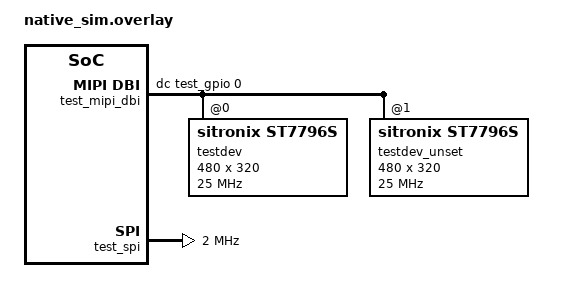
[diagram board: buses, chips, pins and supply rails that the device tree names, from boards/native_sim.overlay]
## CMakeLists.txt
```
# SPDX-License-Identifier: Apache-2.0

cmake_minimum_required(VERSION 3.28.0)
find_package(Zephyr REQUIRED HINTS $ENV{ZEPHYR_BASE})
project(mipi_dbi_api)

FILE(GLOB app_sources src/*.c)
target_sources(app PRIVATE ${app_sources})
```

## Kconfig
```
# Copyright (c) 2026 Hsiu-Chi Tsai
# SPDX-License-Identifier: Apache-2.0

config TEST_MULTIPLE_INSTANCES
	bool "Also test the mipi_dbi_1 instance"
	help
	  Run the tests on mipi_dbi_1 as well. Both instances have eight data
	  pins, so only the 8-bit 8080 mode is used.

source "Kconfig.zephyr"
```

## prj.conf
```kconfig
CONFIG_TEST_USERSPACE=y
CONFIG_ZTEST=y
CONFIG_DMA=y
CONFIG_MIPI_DBI=y
CONFIG_MIPI_DBI_LOG_LEVEL_DBG=y
```

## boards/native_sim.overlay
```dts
/*
 * Copyright (c) 2025 Hsiu-Chi Tsai
 *
 * SPDX-License-Identifier: Apache-2.0
 *
 * Devicetree overlay that exercises MIPI_DBI_CONFIG_DT() reading the
 * optional "color-coding" property of a mipi-dbi-device child node.
 *
 * testdev sets a value (RGB888_1) so the test proves the property is really
 * read; testdev_unset omits it so the field stays unset.
 *
 * Both nodes use a Mode C mipi-mode because they hang off a
 * zephyr,mipi-dbi-spi controller, which is what MIPI_DBI_CONFIG_DT()
 * builds its spi_config from. The macro reads "color-coding" whatever the
 * mode is, and that expansion is all this test covers.
 *
 * The GPIO and SPI devices are stubs. The MIPI DBI controller and display
 * compatibles are the production ones, because they carry the bindings the
 * macro expands against, but their drivers are left out of this build.
 */

#include <zephyr/dt-bindings/mipi_dbi/mipi_dbi.h>

/ {
	test {
		#address-cells = <1>;
		#size-cells = <1>;

		test_mipi_dbi: test_mipi_dbi {
			compatible = "zephyr,mipi-dbi-spi";
			dc-gpios = <&test_gpio 0 0>;
			spi-dev = <&test_spi>;
			#address-cells = <1>;
			#size-cells = <0>;
			status = "okay";

			testdev: testdev@0 {
				compatible = "sitronix,st7796s";
				reg = <0x0>;
				mipi-max-frequency = <25000000>;
				mipi-mode = "MIPI_DBI_MODE_SPI_4WIRE";
				color-coding = "MIPI_DBI_MODE_RGB888_1";
				height = <320>;
				width = <480>;
				/* Dummy values, this won't drive a real panel */
				pgc = [f0 06 0b 07 06 05 2e 33 47 3a 17 16 2e 31];
				ngc = [f0 09 0d 09 08 23 2e 33 46 38 13 13 2c 32];
			};

			/* Omits color-coding, so the field stays unset. */
			testdev_unset: testdev@1 {
				compatible = "sitronix,st7796s";
				reg = <0x1>;
				mipi-max-frequency = <25000000>;
				mipi-mode = "MIPI_DBI_MODE_SPI_4WIRE";
				height = <320>;
				width = <480>;
				/* Dummy values, this won't drive a real panel */
				pgc = [f0 06 0b 07 06 05 2e 33 47 3a 17 16 2e 31];
				ngc = [f0 09 0d 09 08 23 2e 33 46 38 13 13 2c 32];
			};
		};

		test_spi: spi@33334444 {
			compatible = "vnd,spi";
			reg = <0x33334444 0x1000>;
			#address-cells = <1>;
			#size-cells = <0>;
			clock-frequency = <2000000>;
			cs-gpios = <&test_gpio 0 0>, <&test_gpio 1 0>;
			status = "okay";
		};

		test_gpio: gpio@deadbeef {
			compatible = "vnd,gpio";
			reg = <0xdeadbeef 0x1000>;
			gpio-controller;
			#gpio-cells = <0x2>;
			status = "okay";
		};
	};
};
```

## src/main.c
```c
/*
 * Copyright (c) 2025 Christoph Schnetzler
 * Copyright (c) 2025 Hsiu-Chi Tsai
 *
 * SPDX-License-Identifier: Apache-2.0
 */

#include <zephyr/drivers/gpio/gpio_emul.h>
#include <zephyr/drivers/mipi_dbi.h>
#include <zephyr/ztest.h>

/*
 * The API tests below drive a real MIPI DBI controller, so they are only built
 * where the "mipi_dbi" node is enabled (see tests.yaml).
 */
#if DT_NODE_HAS_STATUS_OKAY(DT_NODELABEL(mipi_dbi))

#if DT_NODE_HAS_COMPAT(DT_NODELABEL(mipi_dbi), zephyr_mipi_dbi_bitbang)
BUILD_ASSERT(DT_PROP_LEN(DT_NODELABEL(mipi_dbi), data_gpios) == 8,
	     "the bit-banged fixture must declare an eight-bit data bus");
#endif

static const uint8_t modes[] = {
	MIPI_DBI_MODE_8080_BUS_8_BIT,
/* A bit-banged controller drives only the width its data-gpios lists. */
#if !DT_NODE_HAS_COMPAT(DT_NODELABEL(mipi_dbi), zephyr_mipi_dbi_bitbang)
#ifndef CONFIG_TEST_MULTIPLE_INSTANCES
	MIPI_DBI_MODE_8080_BUS_9_BIT,
	MIPI_DBI_MODE_8080_BUS_16_BIT,
#endif
#endif
};

static const struct device *const devices[] = {DEVICE_DT_GET(DT_NODELABEL(mipi_dbi)),
#ifdef CONFIG_TEST_MULTIPLE_INSTANCES
					       DEVICE_DT_GET(DT_NODELABEL(mipi_dbi_1))
#endif
};

ZTEST(mipi_dbi_api, test_mipi_dbi_command_write)
{
	int ret;
	struct mipi_dbi_config config = {0};

	uint8_t cmd = 0xff;
	uint8_t data[] = {0x00, 0xff, 0x00, 0xff};

	for (int i = 0; i < ARRAY_SIZE(devices); ++i) {
		for (int j = 0; j < ARRAY_SIZE(modes); ++j) {
			config.mode = modes[j];
			ret = mipi_dbi_command_write(devices[i], &config, cmd, data, sizeof(data));
			zassert_equal(ret, 0, "Expected 0 but was %d", ret);
		}
	}
}

ZTEST(mipi_dbi_api, test_mipi_dbi_command_write_cmd_only)
{
	int ret;
	struct mipi_dbi_config config = {0};

	uint8_t cmd = 0xff;

	for (int i = 0; i < ARRAY_SIZE(devices); ++i) {
		for (int j = 0; j < ARRAY_SIZE(modes); ++j) {
			config.mode = modes[j];
			ret = mipi_dbi_command_write(devices[i], &config, cmd, NULL, 0);
			zassert_equal(ret, 0, "Expected 0 but was %d", ret);
		}
	}
}

#if DT_NODE_HAS_COMPAT(DT_NODELABEL(mipi_dbi), zephyr_mipi_dbi_bitbang)
ZTEST(mipi_dbi_api, test_mipi_dbi_bitbang_data_levels)
{
	static const struct gpio_dt_spec data[] = {
		DT_FOREACH_PROP_ELEM_SEP(DT_NODELABEL(mipi_dbi), data_gpios,
					 GPIO_DT_SPEC_GET_BY_IDX, (,))};
	static const uint8_t values[] = {0xa5, 0x5a, 0x00, 0xff, 0x01, 0x80};
	struct mipi_dbi_config config = {.mode = MIPI_DBI_MODE_8080_BUS_8_BIT};

	for (int i = 0; i < ARRAY_SIZE(values); ++i) {
		int ret = mipi_dbi_command_write(devices[0], &config, values[i], NULL, 0);

		zassert_equal(ret, 0, "Expected 0 but was %d", ret);
		for (int j = 0; j < ARRAY_SIZE(data); ++j) {
			int expected = ((values[i] >> j) & 1) ^
				       ((data[j].dt_flags & GPIO_ACTIVE_LOW) != 0);

			zassert_equal(gpio_emul_output_get_dt(&data[j]), expected,
				      "value 0x%02x data line %d", values[i], j);
		}
	}
}
#endif

ZTEST(mipi_dbi_api, test_mipi_dbi_write_display)
{
	int ret;
	struct mipi_dbi_config config = {0};
	struct display_buffer_descriptor descriptor = {
		.width = 2,
		.height = 1,
		.pitch = 2,
	};

	uint8_t data[] = {0x00, 0xff, 0x00, 0xff};

	descriptor.buf_size = sizeof(data);

	for (int i = 0; i < ARRAY_SIZE(devices); ++i) {
		for (int j = 0; j < ARRAY_SIZE(modes); ++j) {
			config.mode = modes[j];
			ret = mipi_dbi_write_display(devices[i], &config, data, &descriptor,
						      PIXEL_FORMAT_RGB_565);
			zassert_equal(ret, 0, "Expected 0 but was %d", ret);
		}
	}
}

ZTEST(mipi_dbi_api, test_mipi_dbi_reset)
{
	int ret;

	for (int i = 0; i < ARRAY_SIZE(devices); ++i) {
		ret = mipi_dbi_reset(devices[i], 100);
		zassert_equal(ret, 0, "Expected 0 but was %d", ret);
	}
}

static void *mipi_dbi_setup(void)
{
	for (int i = 0; i < ARRAY_SIZE(devices); ++i) {
		zassert_true(device_is_ready(devices[i]), "%s is not ready", devices[i]->name);
	}

	return NULL;
}

ZTEST_SUITE(mipi_dbi_api, NULL, mipi_dbi_setup, NULL, NULL, NULL);

#endif /* DT_NODE_HAS_STATUS_OKAY(DT_NODELABEL(mipi_dbi)) */

#if DT_NODE_HAS_STATUS_OKAY(DT_NODELABEL(testdev)) && \
	DT_NODE_HAS_STATUS_OKAY(DT_NODELABEL(testdev_unset))

/*
 * MIPI_DBI_CONFIG_DT() must populate struct mipi_dbi_config.color_coding from
 * the optional "color-coding" devicetree property, and leave it at zero when
 * the property is omitted. Uses stub controllers, so it runs on native_sim.
 */
ZTEST(mipi_dbi_config, test_color_coding_from_dt)
{
	struct mipi_dbi_config config = MIPI_DBI_CONFIG_DT(DT_NODELABEL(testdev), 0, 0);

	zassert_equal(config.color_coding, MIPI_DBI_MODE_RGB888_1,
		      "Expected RGB888_1 (0x%x) but was 0x%x", MIPI_DBI_MODE_RGB888_1,
		      config.color_coding);
}

ZTEST(mipi_dbi_config, test_color_coding_unset)
{
	struct mipi_dbi_config config =
		MIPI_DBI_CONFIG_DT(DT_NODELABEL(testdev_unset), 0, 0);

	zassert_equal(config.color_coding, 0,
		      "Expected an unset color coding but was 0x%x", config.color_coding);
}

ZTEST_SUITE(mipi_dbi_config, NULL, NULL, NULL, NULL, NULL);

#endif /* DT_NODE_HAS_STATUS_OKAY(testdev) && DT_NODE_HAS_STATUS_OKAY(testdev_unset) */
```
